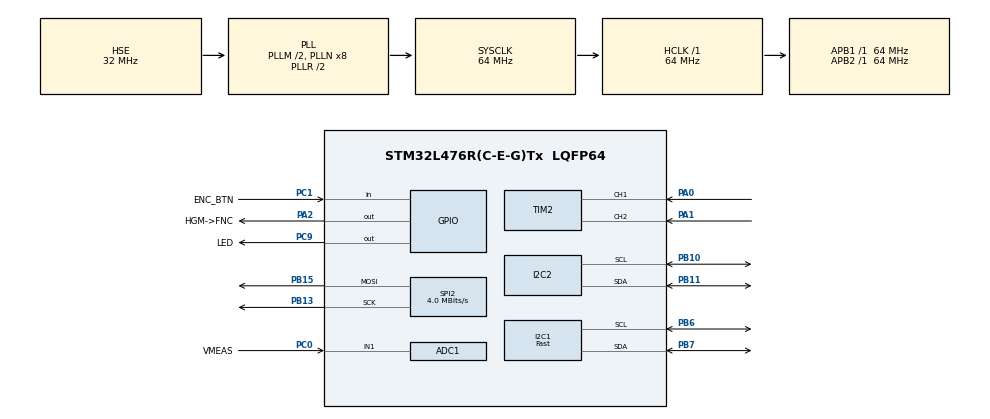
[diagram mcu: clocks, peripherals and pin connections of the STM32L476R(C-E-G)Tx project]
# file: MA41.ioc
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ADC1.Channel-8\#ChannelRegularConversion=ADC_CHANNEL_1
ADC1.ContinuousConvMode=DISABLE
ADC1.EOCSelection=ADC_EOC_SINGLE_CONV
ADC1.EnableRegularConversion=ENABLE
ADC1.NbrOfConversionFlag=1
ADC1.OffsetNumber-8\#ChannelRegularConversion=ADC_OFFSET_NONE
ADC1.Overrun=ADC_OVR_DATA_PRESERVED
ADC1.Rank-8\#ChannelRegularConversion=1
ADC1.SamplingTime-8\#ChannelRegularConversion=ADC_SAMPLETIME_2CYCLES_5
ADC1.master=1
I2C1.I2C_Speed_Mode=I2C_Fast
I2C1.Timing=0x00602173
I2C2.Timing=0x10707DBC
Mcu.Family=STM32L4
Mcu.Name=STM32L476R(C-E-G)Tx
Mcu.Package=LQFP64
NVIC.PriorityGroup=NVIC_PRIORITYGROUP_4
PA0.GPIO_PuPd=GPIO_PULLUP
PA0.Signal=S_TIM2_CH1
PA1.GPIO_PuPd=GPIO_PULLUP
PA1.Signal=S_TIM2_CH2
PA2.GPIO_Label=HGM->FNC
PA2.Signal=GPIO_Output
PB10.Mode=I2C
PB10.Signal=I2C2_SCL
PB11.Mode=I2C
PB11.Signal=I2C2_SDA
PB13.Mode=TX_Only_Simplex_Unidirect_Master
PB13.Signal=SPI2_SCK
PB15.Mode=TX_Only_Simplex_Unidirect_Master
PB15.Signal=SPI2_MOSI
PB6.Mode=I2C
PB6.Signal=I2C1_SCL
PB7.Mode=I2C
PB7.Signal=I2C1_SDA
PC0.GPIO_Label=VMEAS
PC0.Signal=ADCx_IN1
PC1.GPIO_Label=ENC_BTN
PC1.Signal=GPIO_Input
PC9.GPIO_Label=LED
PC9.Signal=GPIO_Output
PH0-OSC_IN\ (PH0).Mode=HSE-External-Oscillator
PH0-OSC_IN\ (PH0).Signal=RCC_OSC_IN
PH1-OSC_OUT\ (PH1).Mode=HSE-External-Oscillator
PH1-OSC_OUT\ (PH1).Signal=RCC_OSC_OUT
ProjectManager.HeapSize=0x200
ProjectManager.StackSize=0x400
ProjectManager.TargetToolchain=STM32CubeIDE
RCC.ADCFreq_Value=64000000
RCC.AHBFreq_Value=64000000
RCC.APB1Freq_Value=64000000
RCC.APB1TimFreq_Value=64000000
RCC.APB2Freq_Value=64000000
RCC.APB2TimFreq_Value=64000000
RCC.CortexFreq_Value=64000000
RCC.HCLKFreq_Value=64000000
RCC.HSE_VALUE=32000000
RCC.HSI_VALUE=16000000
RCC.LSE_VALUE=32768
RCC.MSI_VALUE=4000000
RCC.PLLM=2
RCC.PLLSourceVirtual=RCC_PLLSOURCE_HSE
RCC.SYSCLKFreq_VALUE=64000000
RCC.SYSCLKSource=RCC_SYSCLKSOURCE_PLLCLK
RCC.USBFreq_Value=64000000
RCC.VCOOutputFreq_Value=128000000
SH.ADCx_IN1.0=ADC1_IN1,IN1-Single-Ended
SH.S_TIM2_CH1.0=TIM2_CH1,Encoder_Interface
SH.S_TIM2_CH2.0=TIM2_CH2,Encoder_Interface
SPI2.BaudRatePrescaler=SPI_BAUDRATEPRESCALER_16
SPI2.CLKPolarity=SPI_POLARITY_HIGH
SPI2.CalculateBaudRate=4.0 MBits/s
SPI2.DataSize=SPI_DATASIZE_8BIT
SPI2.Direction=SPI_DIRECTION_2LINES
SPI2.Mode=SPI_MODE_MASTER
SPI2.NSSPMode=SPI_NSS_PULSE_ENABLE
SPI2.VirtualType=VM_MASTER
TIM2.EncoderMode=TIM_ENCODERMODE_TI12
TIM2.IC1Filter=5
TIM2.IC1Polarity=TIM_ICPOLARITY_FALLING
TIM2.IC2Filter=5
TIM2.IC2Polarity=TIM_ICPOLARITY_FALLING
board=custom

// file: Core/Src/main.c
/* USER CODE BEGIN Header */
/**
  ******************************************************************************
  * @file           : main.c
  * @brief          : Main program body
  ******************************************************************************
  * @attention
  *
  * Copyright (c) 2024 STMicroelectronics.
  * All rights reserved.
  *
  * This software is licensed under terms that can be found in the LICENSE file
  * in the root directory of this software component.
  * If no LICENSE file comes with this software, it is provided AS-IS.
  *
  ******************************************************************************
  */
/* USER CODE END Header */
#include "main.h"

/* USER CODE BEGIN Includes */
#include "OLED.h"
#include "AD9833.h"
/* USER CODE END Includes */

/* USER CODE BEGIN PTD */
int16_t freq;//current frequency
int16_t prev_freq;//previous frequency

uint8_t eeprom_freq[2];//for read/write eeprom
uint8_t mode_iter[1]={3};//синус по-умолчанию
int16_t enc_pos=0; //encoder current shift
float vmeas;//измеренное напряжение (уровень)
float vmeas_prev; //previous vmeas for filter
const char*mode0="DSRK"; //see defines in ad9833.h //ВЫКЛ
const char*mode1="NHTEU"; //see defines in ad9833.h //ТРЕУГ
const char*mode2="VTFYLH"; //see defines in ad9833.h //МЕАНДР
const char*mode3="CBYEC"; //see defines in ad9833.h //СИНУС

const uint16_t devAddr = (0x50 << 1); // HAL expects address to be shifted one bit to the left
const uint16_t memAddr = 0x0100;
HAL_StatusTypeDef status; //для проверки окончания записи в EEPROM

/* USER CODE END PTD */

/* USER CODE BEGIN PD */
#define freq_step 100 //step of freq
#define enc_step -4//+4 or -4//sign is direction of encoder
#define filter_coef 8//value of filtering
#define adc_mv_recalc 4.5//value of filtering
/* USER CODE END PD */

ADC_HandleTypeDef hadc1;

I2C_HandleTypeDef hi2c1;
I2C_HandleTypeDef hi2c2;

SPI_HandleTypeDef hspi2;

TIM_HandleTypeDef htim2;

void SystemClock_Config(void);
static void MX_GPIO_Init(void);
static void MX_I2C1_Init(void);
static void MX_I2C2_Init(void);
static void MX_TIM2_Init(void);
static void MX_SPI2_Init(void);
static void MX_ADC1_Init(void);

/* USER CODE BEGIN 0 */

void oled_init(){
	HAL_Delay(100);
	OLED_Init(&hi2c1);
	OLED_Clear(0);
	OLED_UpdateScreen();
}

void ad_init(){
	ad9833_init();
	ad9833_set_frequency(0, freq);
	ad9833_set_freq_out(0);
}

void ad_set_mode(uint8_t m){
	ad9833_set_mode(m);
	OLED_Clear(0);
	FontSet(Segoe_UI_Rus_12);
	OLED_DrawStr("Uw", 1, 32, 1);
	switch(m){
	case 0:
		OLED_DrawStr(mode0, 30, 32, 1);
		break;
	case 1:
		OLED_DrawStr(mode1, 30, 32, 1);
		break;
	case 2:
		OLED_DrawStr(mode2, 30, 32, 1);
		break;
	case 3:
		OLED_DrawStr(mode3, 30, 32, 1);
		break;
	}
	OLED_UpdateScreen();
}

void init(){
	  HAL_TIM_Encoder_Start(&htim2, TIM_CHANNEL_ALL);
	  HAL_I2C_Mem_Read(&hi2c2, devAddr, memAddr, I2C_MEMADD_SIZE_16BIT, mode_iter, 1, HAL_MAX_DELAY);
	  HAL_I2C_Mem_Read(&hi2c2, devAddr, memAddr+2, I2C_MEMADD_SIZE_16BIT, eeprom_freq, 2, HAL_MAX_DELAY);
	  freq=(eeprom_freq[1]<<8)+eeprom_freq[0];
	  oled_init();
	  ad_init();
	  ad_set_mode(mode_iter[0]);
	  HAL_Delay(100);
	  HAL_ADCEx_Calibration_Start(&hadc1,1);
}

void loop(){
	//start freq set and rendering
	enc_pos=((int16_t)__HAL_TIM_GET_COUNTER(&htim2))/enc_step;
	if((enc_pos<=-enc_step) || (enc_pos>=enc_step)){
		__HAL_TIM_SET_COUNTER(&htim2, 0);
		freq=freq+enc_pos*freq_step;
	}

	if(freq<0){freq=0;}
	if(freq>30000){freq=30000;}

	if(freq!=prev_freq){
		prev_freq=freq;
		eeprom_freq[0]=freq&0xFF;//low byte
		eeprom_freq[1]=freq>>8;//high byte
		HAL_I2C_Mem_Write(&hi2c2, devAddr, memAddr+2, I2C_MEMADD_SIZE_16BIT, eeprom_freq, 2, HAL_MAX_DELAY);
		for(;;) { // wait...
			status = HAL_I2C_IsDeviceReady(&hi2c2, devAddr, 1, HAL_MAX_DELAY);
			if(status == HAL_OK)
				break;
		}
	}

	ad9833_set_frequency(0, freq);
	OLED_DrawRectangleFill(1,1,128,31,0);
	FontSet(BigNumbers);
	OLED_DrawNum(freq, 1, 1, 1);
	if(HAL_GPIO_ReadPin(GPIOC, GPIO_PIN_1)==0){
		mode_iter[0]++;
		if(mode_iter[0]>3)mode_iter[0]=0;
		ad_set_mode(mode_iter[0]);
		HAL_I2C_Mem_Write(&hi2c2, devAddr, memAddr, I2C_MEMADD_SIZE_16BIT, mode_iter, 1, HAL_MAX_DELAY);
		for(;;) { // wait...
			status = HAL_I2C_IsDeviceReady(&hi2c2, devAddr, 1, HAL_MAX_DELAY);
			if(status == HAL_OK)
				break;
		}
	}
	OLED_UpdateOnePage(0);
	OLED_UpdateOnePage(1);
	OLED_UpdateOnePage(2);
	//end freq set and rendering
	//start output level measuring and rendering
	HAL_ADC_Start(&hadc1); // запускаем преобразование сигнала АЦП
    vmeas = HAL_ADC_GetValue(&hadc1); // читаем полученное значение в переменную adc
    vmeas=vmeas_prev+((vmeas-vmeas_prev)/filter_coef); //filtering ADC results
    vmeas_prev=vmeas;
    OLED_DrawRectangleFill(1,50,128,64,0);
	FontSet(Segoe_UI_Rus_12);
	OLED_DrawNum((vmeas*adc_mv_recalc), 1, 50, 1);
	OLED_DrawStr("vD", 45, 50, 1);
	OLED_UpdateOnePage(6);
	OLED_UpdateOnePage(7);
	//end output level measuring and rendering
}
/* USER CODE END 0 */

int main(void)
{

  /* MCU Configuration--------------------------------------------------------*/

  /* Reset of all peripherals, Initializes the Flash interface and the Systick. */
  HAL_Init();

  /* Configure the system clock */
  SystemClock_Config();

  /* Initialize all configured peripherals */
  MX_GPIO_Init();
  MX_I2C1_Init();
  MX_I2C2_Init();
  MX_TIM2_Init();
  MX_SPI2_Init();
  MX_ADC1_Init();
  /* USER CODE BEGIN 2 */
  init();
  /* USER CODE END 2 */

  /* Infinite loop */
  /* USER CODE BEGIN WHILE */
  while (1)
  {
	  loop();
	  HAL_GPIO_TogglePin(GPIOC, GPIO_PIN_9); // инверсия вывода PC13
    /* USER CODE END WHILE */

  }
}

void SystemClock_Config(void)
{
  RCC_OscInitTypeDef RCC_OscInitStruct = {0};
  RCC_ClkInitTypeDef RCC_ClkInitStruct = {0};

  /** Configure the main internal regulator output voltage
  */
  if (HAL_PWREx_ControlVoltageScaling(PWR_REGULATOR_VOLTAGE_SCALE1) != HAL_OK)
  {
    Error_Handler();
  }

  /** Initializes the RCC Oscillators according to the specified parameters
  * in the RCC_OscInitTypeDef structure.
  */
  RCC_OscInitStruct.OscillatorType = RCC_OSCILLATORTYPE_HSE;
  RCC_OscInitStruct.HSEState = RCC_HSE_ON;
  RCC_OscInitStruct.PLL.PLLState = RCC_PLL_ON;
  RCC_OscInitStruct.PLL.PLLSource = RCC_PLLSOURCE_HSE;
  RCC_OscInitStruct.PLL.PLLM = 2;
  RCC_OscInitStruct.PLL.PLLN = 8;
  RCC_OscInitStruct.PLL.PLLP = RCC_PLLP_DIV7;
  RCC_OscInitStruct.PLL.PLLQ = RCC_PLLQ_DIV2;
  RCC_OscInitStruct.PLL.PLLR = RCC_PLLR_DIV2;
  if (HAL_RCC_OscConfig(&RCC_OscInitStruct) != HAL_OK)
  {
    Error_Handler();
  }

  /** Initializes the CPU, AHB and APB buses clocks
  */
  RCC_ClkInitStruct.ClockType = RCC_CLOCKTYPE_HCLK|RCC_CLOCKTYPE_SYSCLK
                              |RCC_CLOCKTYPE_PCLK1|RCC_CLOCKTYPE_PCLK2;
  RCC_ClkInitStruct.SYSCLKSource = RCC_SYSCLKSOURCE_PLLCLK;
  RCC_ClkInitStruct.AHBCLKDivider = RCC_SYSCLK_DIV1;
  RCC_ClkInitStruct.APB1CLKDivider = RCC_HCLK_DIV1;
  RCC_ClkInitStruct.APB2CLKDivider = RCC_HCLK_DIV1;

  if (HAL_RCC_ClockConfig(&RCC_ClkInitStruct, FLASH_LATENCY_3) != HAL_OK)
  {
    Error_Handler();
  }
}

static void MX_ADC1_Init(void)
{

  ADC_MultiModeTypeDef multimode = {0};
  ADC_ChannelConfTypeDef sConfig = {0};

  /** Common config
  */
  hadc1.Instance = ADC1;
  hadc1.Init.ClockPrescaler = ADC_CLOCK_ASYNC_DIV1;
  hadc1.Init.Resolution = ADC_RESOLUTION_12B;
  hadc1.Init.DataAlign = ADC_DATAALIGN_RIGHT;
  hadc1.Init.ScanConvMode = ADC_SCAN_DISABLE;
  hadc1.Init.EOCSelection = ADC_EOC_SINGLE_CONV;
  hadc1.Init.LowPowerAutoWait = DISABLE;
  hadc1.Init.ContinuousConvMode = DISABLE;
  hadc1.Init.NbrOfConversion = 1;
  hadc1.Init.DiscontinuousConvMode = DISABLE;
  hadc1.Init.ExternalTrigConv = ADC_SOFTWARE_START;
  hadc1.Init.ExternalTrigConvEdge = ADC_EXTERNALTRIGCONVEDGE_NONE;
  hadc1.Init.DMAContinuousRequests = DISABLE;
  hadc1.Init.Overrun = ADC_OVR_DATA_PRESERVED;
  hadc1.Init.OversamplingMode = DISABLE;
  if (HAL_ADC_Init(&hadc1) != HAL_OK)
  {
    Error_Handler();
  }

  /** Configure the ADC multi-mode
  */
  multimode.Mode = ADC_MODE_INDEPENDENT;
  if (HAL_ADCEx_MultiModeConfigChannel(&hadc1, &multimode) != HAL_OK)
  {
    Error_Handler();
  }

  /** Configure Regular Channel
  */
  sConfig.Channel = ADC_CHANNEL_1;
  sConfig.Rank = ADC_REGULAR_RANK_1;
  sConfig.SamplingTime = ADC_SAMPLETIME_2CYCLES_5;
  sConfig.SingleDiff = ADC_SINGLE_ENDED;
  sConfig.OffsetNumber = ADC_OFFSET_NONE;
  sConfig.Offset = 0;
  if (HAL_ADC_ConfigChannel(&hadc1, &sConfig) != HAL_OK)
  {
    Error_Handler();
  }

}

static void MX_I2C1_Init(void)
{

  hi2c1.Instance = I2C1;
  hi2c1.Init.Timing = 0x00602173;
  hi2c1.Init.OwnAddress1 = 0;
  hi2c1.Init.AddressingMode = I2C_ADDRESSINGMODE_7BIT;
  hi2c1.Init.DualAddressMode = I2C_DUALADDRESS_DISABLE;
  hi2c1.Init.OwnAddress2 = 0;
  hi2c1.Init.OwnAddress2Masks = I2C_OA2_NOMASK;
  hi2c1.Init.GeneralCallMode = I2C_GENERALCALL_DISABLE;
  hi2c1.Init.NoStretchMode = I2C_NOSTRETCH_DISABLE;
  if (HAL_I2C_Init(&hi2c1) != HAL_OK)
  {
    Error_Handler();
  }

  /** Configure Analogue filter
  */
  if (HAL_I2CEx_ConfigAnalogFilter(&hi2c1, I2C_ANALOGFILTER_ENABLE) != HAL_OK)
  {
    Error_Handler();
  }

  /** Configure Digital filter
  */
  if (HAL_I2CEx_ConfigDigitalFilter(&hi2c1, 0) != HAL_OK)
  {
    Error_Handler();
  }

}

static void MX_I2C2_Init(void)
{

  hi2c2.Instance = I2C2;
  hi2c2.Init.Timing = 0x10707DBC;
  hi2c2.Init.OwnAddress1 = 0;
  hi2c2.Init.AddressingMode = I2C_ADDRESSINGMODE_7BIT;
  hi2c2.Init.DualAddressMode = I2C_DUALADDRESS_DISABLE;
  hi2c2.Init.OwnAddress2 = 0;
  hi2c2.Init.OwnAddress2Masks = I2C_OA2_NOMASK;
  hi2c2.Init.GeneralCallMode = I2C_GENERALCALL_DISABLE;
  hi2c2.Init.NoStretchMode = I2C_NOSTRETCH_DISABLE;
  if (HAL_I2C_Init(&hi2c2) != HAL_OK)
  {
    Error_Handler();
  }

  /** Configure Analogue filter
  */
  if (HAL_I2CEx_ConfigAnalogFilter(&hi2c2, I2C_ANALOGFILTER_ENABLE) != HAL_OK)
  {
    Error_Handler();
  }

  /** Configure Digital filter
  */
  if (HAL_I2CEx_ConfigDigitalFilter(&hi2c2, 0) != HAL_OK)
  {
    Error_Handler();
  }

}

static void MX_SPI2_Init(void)
{

  /* SPI2 parameter configuration*/
  hspi2.Instance = SPI2;
  hspi2.Init.Mode = SPI_MODE_MASTER;
  hspi2.Init.Direction = SPI_DIRECTION_2LINES;
  hspi2.Init.DataSize = SPI_DATASIZE_8BIT;
  hspi2.Init.CLKPolarity = SPI_POLARITY_HIGH;
  hspi2.Init.CLKPhase = SPI_PHASE_1EDGE;
  hspi2.Init.NSS = SPI_NSS_SOFT;
  hspi2.Init.BaudRatePrescaler = SPI_BAUDRATEPRESCALER_16;
  hspi2.Init.FirstBit = SPI_FIRSTBIT_MSB;
  hspi2.Init.TIMode = SPI_TIMODE_DISABLE;
  hspi2.Init.CRCCalculation = SPI_CRCCALCULATION_DISABLE;
  hspi2.Init.CRCPolynomial = 7;
  hspi2.Init.CRCLength = SPI_CRC_LENGTH_DATASIZE;
  hspi2.Init.NSSPMode = SPI_NSS_PULSE_ENABLE;
  if (HAL_SPI_Init(&hspi2) != HAL_OK)
  {
    Error_Handler();
  }

}

static void MX_TIM2_Init(void)
{

  TIM_Encoder_InitTypeDef sConfig = {0};
  TIM_MasterConfigTypeDef sMasterConfig = {0};

  htim2.Instance = TIM2;
  htim2.Init.Prescaler = 0;
  htim2.Init.CounterMode = TIM_COUNTERMODE_UP;
  htim2.Init.Period = 4294967295;
  htim2.Init.ClockDivision = TIM_CLOCKDIVISION_DIV1;
  htim2.Init.AutoReloadPreload = TIM_AUTORELOAD_PRELOAD_DISABLE;
  sConfig.EncoderMode = TIM_ENCODERMODE_TI12;
  sConfig.IC1Polarity = TIM_ICPOLARITY_FALLING;
  sConfig.IC1Selection = TIM_ICSELECTION_DIRECTTI;
  sConfig.IC1Prescaler = TIM_ICPSC_DIV1;
  sConfig.IC1Filter = 5;
  sConfig.IC2Polarity = TIM_ICPOLARITY_FALLING;
  sConfig.IC2Selection = TIM_ICSELECTION_DIRECTTI;
  sConfig.IC2Prescaler = TIM_ICPSC_DIV1;
  sConfig.IC2Filter = 5;
  if (HAL_TIM_Encoder_Init(&htim2, &sConfig) != HAL_OK)
  {
    Error_Handler();
  }
  sMasterConfig.MasterOutputTrigger = TIM_TRGO_RESET;
  sMasterConfig.MasterSlaveMode = TIM_MASTERSLAVEMODE_DISABLE;
  if (HAL_TIMEx_MasterConfigSynchronization(&htim2, &sMasterConfig) != HAL_OK)
  {
    Error_Handler();
  }

}

static void MX_GPIO_Init(void)
{
  GPIO_InitTypeDef GPIO_InitStruct = {0};

  /* GPIO Ports Clock Enable */
  __HAL_RCC_GPIOH_CLK_ENABLE();
  __HAL_RCC_GPIOC_CLK_ENABLE();
  __HAL_RCC_GPIOA_CLK_ENABLE();
  __HAL_RCC_GPIOB_CLK_ENABLE();

  /*Configure GPIO pin Output Level */
  HAL_GPIO_WritePin(HGM__FNC_GPIO_Port, HGM__FNC_Pin, GPIO_PIN_RESET);

  /*Configure GPIO pin Output Level */
  HAL_GPIO_WritePin(LED_GPIO_Port, LED_Pin, GPIO_PIN_RESET);

  /*Configure GPIO pin : ENC_BTN_Pin */
  GPIO_InitStruct.Pin = ENC_BTN_Pin;
  GPIO_InitStruct.Mode = GPIO_MODE_INPUT;
  GPIO_InitStruct.Pull = GPIO_NOPULL;
  HAL_GPIO_Init(ENC_BTN_GPIO_Port, &GPIO_InitStruct);

  /*Configure GPIO pin : HGM__FNC_Pin */
  GPIO_InitStruct.Pin = HGM__FNC_Pin;
  GPIO_InitStruct.Mode = GPIO_MODE_OUTPUT_PP;
  GPIO_InitStruct.Pull = GPIO_NOPULL;
  GPIO_InitStruct.Speed = GPIO_SPEED_FREQ_LOW;
  HAL_GPIO_Init(HGM__FNC_GPIO_Port, &GPIO_InitStruct);

  /*Configure GPIO pin : LED_Pin */
  GPIO_InitStruct.Pin = LED_Pin;
  GPIO_InitStruct.Mode = GPIO_MODE_OUTPUT_PP;
  GPIO_InitStruct.Pull = GPIO_NOPULL;
  GPIO_InitStruct.Speed = GPIO_SPEED_FREQ_LOW;
  HAL_GPIO_Init(LED_GPIO_Port, &GPIO_InitStruct);

}

void Error_Handler(void)
{
  __disable_irq();
  while (1)
  {
  }
}
